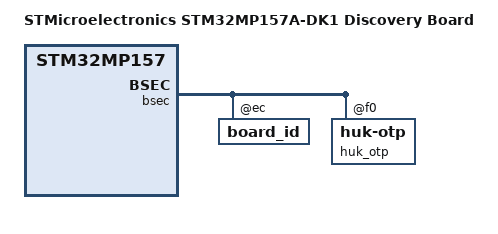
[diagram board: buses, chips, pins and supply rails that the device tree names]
// SPDX-License-Identifier: (GPL-2.0+ OR BSD-3-Clause)
/*
 * Copyright (C) STMicroelectronics 2019-2024 - All Rights Reserved
 * Author: Alexandre Torgue <alexandre.torgue@st.com> for STMicroelectronics.
 */

/dts-v1/;

#include "stm32mp157.dtsi"
#include "stm32mp15-pinctrl.dtsi"
#include "stm32mp15xxac-pinctrl.dtsi"
#include "stm32mp15xx-dkx.dtsi"

/ {
	model = "STMicroelectronics STM32MP157A-DK1 Discovery Board";
	compatible = "st,stm32mp157a-dk1", "st,stm32mp157";

	aliases {
		ethernet0 = &ethernet0;
		serial0 = &uart4;
		serial1 = &usart3;
		serial2 = &uart7;
	};

	chosen {
		stdout-path = "serial0:115200n8";
	};
};

&bsec {
	board_id: board_id@ec {
		reg = <0xec 0x4>;
		st,non-secure-otp;
	};
	huk_otp: huk-otp@f0 {
		reg = <0xf0 0x10>;
	};
};

&etzpc {
	st,decprot =
		<DECPROT(STM32MP1_ETZPC_USART1_ID, DECPROT_NS_RW, DECPROT_UNLOCK)>,
		<DECPROT(STM32MP1_ETZPC_SPI6_ID, DECPROT_NS_RW, DECPROT_UNLOCK)>,
		<DECPROT(STM32MP1_ETZPC_I2C4_ID, DECPROT_NS_RW, DECPROT_UNLOCK)>,
		<DECPROT(STM32MP1_ETZPC_I2C6_ID, DECPROT_NS_RW, DECPROT_UNLOCK)>,
		<DECPROT(STM32MP1_ETZPC_RNG1_ID, DECPROT_NS_RW, DECPROT_UNLOCK)>,
		<DECPROT(STM32MP1_ETZPC_HASH1_ID, DECPROT_NS_RW, DECPROT_UNLOCK)>,
		<DECPROT(STM32MP1_ETZPC_DDRCTRL_ID, DECPROT_NS_R_S_W, DECPROT_LOCK)>,
		<DECPROT(STM32MP1_ETZPC_DDRPHYC_ID, DECPROT_NS_R_S_W, DECPROT_LOCK)>,
		<DECPROT(STM32MP1_ETZPC_STGENC_ID, DECPROT_S_RW, DECPROT_LOCK)>,
		<DECPROT(STM32MP1_ETZPC_BKPSRAM_ID, DECPROT_S_RW, DECPROT_LOCK)>,
		<DECPROT(STM32MP1_ETZPC_IWDG1_ID, DECPROT_S_RW, DECPROT_LOCK)>;
};
